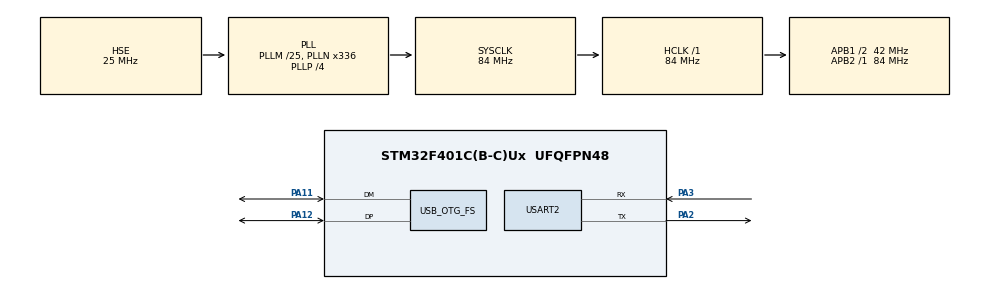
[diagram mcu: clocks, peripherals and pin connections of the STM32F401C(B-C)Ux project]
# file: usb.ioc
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Mcu.Family=STM32F4
Mcu.Name=STM32F401C(B-C)Ux
Mcu.Package=UFQFPN48
NVIC.OTG_FS_IRQn=true\:0\:0\:false\:false\:true\:true\:true\:true
NVIC.PriorityGroup=NVIC_PRIORITYGROUP_4
NVIC.USART2_IRQn=true\:0\:0\:false\:false\:true\:true\:true\:true
PA11.Mode=Device_Only
PA11.Signal=USB_OTG_FS_DM
PA12.Mode=Device_Only
PA12.Signal=USB_OTG_FS_DP
PA13.Mode=Serial_Wire
PA13.Signal=SYS_JTMS-SWDIO
PA14.Mode=Serial_Wire
PA14.Signal=SYS_JTCK-SWCLK
PA2.Mode=Asynchronous
PA2.Signal=USART2_TX
PA3.Mode=Asynchronous
PA3.Signal=USART2_RX
PH0\ -\ OSC_IN.Mode=HSE-External-Oscillator
PH0\ -\ OSC_IN.Signal=RCC_OSC_IN
PH1\ -\ OSC_OUT.Mode=HSE-External-Oscillator
PH1\ -\ OSC_OUT.Signal=RCC_OSC_OUT
ProjectManager.HeapSize=0x600
ProjectManager.StackSize=0x400
ProjectManager.TargetToolchain=Makefile
RCC.48MHZClocksFreq_Value=48000000
RCC.AHBFreq_Value=84000000
RCC.APB1CLKDivider=RCC_HCLK_DIV2
RCC.APB1Freq_Value=42000000
RCC.APB1TimFreq_Value=84000000
RCC.APB2Freq_Value=84000000
RCC.APB2TimFreq_Value=84000000
RCC.CortexFreq_Value=84000000
RCC.HCLKFreq_Value=84000000
RCC.HSE_VALUE=25000000
RCC.HSI_VALUE=16000000
RCC.LSE_VALUE=32768
RCC.PLLM=25
RCC.PLLN=336
RCC.PLLP=RCC_PLLP_DIV4
RCC.PLLQ=7
RCC.SYSCLKFreq_VALUE=84000000
RCC.SYSCLKSource=RCC_SYSCLKSOURCE_PLLCLK
RCC.VCOOutputFreq_Value=336000000
USART2.VirtualMode=VM_ASYNC
USB_DEVICE.CLASS_NAME_FS=CDC
USB_DEVICE.VirtualMode=Cdc
USB_DEVICE.VirtualModeFS=Cdc_FS
USB_OTG_FS.VirtualMode=Device_Only
VP_USB_DEVICE_VS_USB_DEVICE_CDC_FS.Mode=CDC_FS
board=custom

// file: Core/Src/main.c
/* USER CODE BEGIN Header */
/**
 ******************************************************************************
 * @file    main.c
 * @brief   STM32F401CCU6 - UART to USB CDC
 ******************************************************************************
 */
/* USER CODE END Header */

#include "main.h"
#include "usb_device.h"

/* USER CODE BEGIN Includes */
#include "usbd_cdc.h"
#include "usbd_cdc_if.h"
#include "usbd_def.h"
#include <stdint.h>

/* USER CODE END Includes */

/* USER CODE BEGIN PD */
#define UART_BUFFER_SIZE 2048U
#define UART_BUFFER_MASK (UART_BUFFER_SIZE - 1U)
#define USB_PACKET_SIZE 64U
/* USER CODE END PD */

UART_HandleTypeDef huart2;

/* USER CODE BEGIN PV */
extern USBD_HandleTypeDef hUsbDeviceFS;
static uint8_t uart_rx_byte;

static uint8_t uart_buffer[UART_BUFFER_SIZE];

static volatile uint16_t uart_head = 0;
static volatile uint16_t uart_tail = 0;

static volatile uint32_t uart_dropped = 0;

static uint8_t usb_tx_buffer[USB_PACKET_SIZE];

/* USER CODE END PV */

void SystemClock_Config(void);
static void MX_GPIO_Init(void);
static void MX_USART2_UART_Init(void);

/* USER CODE BEGIN PFP */
static void USB_Log_Task(void);
/* USER CODE END PFP */

/* USER CODE BEGIN 0 */

/*
 * Executado quando um byte chega pela USART2.
 */
void HAL_UART_RxCpltCallback(UART_HandleTypeDef *huart) {
  if (huart->Instance != USART2)
    return;

  uint16_t next = (uart_head + 1U) & UART_BUFFER_MASK;

  if (next != uart_tail) {
    uart_buffer[uart_head] = uart_rx_byte;
    uart_head = next;
  } else {
    uart_dropped++;
  }

  /* Receber próximo byte */
  HAL_UART_Receive_IT(&huart2, &uart_rx_byte, 1);
}

/*
 * Tratamento de erros da UART.
 */
void HAL_UART_ErrorCallback(UART_HandleTypeDef *huart) {
  if (huart->Instance != USART2)
    return;

  __HAL_UART_CLEAR_OREFLAG(huart);

  if (huart->RxState == HAL_UART_STATE_READY) {
    HAL_UART_Receive_IT(&huart2, &uart_rx_byte, 1);
  }
}

/*
 * Envia os dados do buffer UART para USB CDC.
 */
static void USB_Log_Task(void) {
  if (hUsbDeviceFS.dev_state != USBD_STATE_CONFIGURED)
    return;

  USBD_CDC_HandleTypeDef *hcdc =
      (USBD_CDC_HandleTypeDef *)hUsbDeviceFS.pClassData;

  if (hcdc == NULL || hcdc->TxState != 0)
    return;

  uint16_t index = uart_tail;
  uint16_t head_snapshot = uart_head;
  uint16_t count = 0;

  while ((index != head_snapshot) && (count < USB_PACKET_SIZE)) {
    usb_tx_buffer[count++] = uart_buffer[index];

    index = (index + 1U) & UART_BUFFER_MASK;
  }

  if (count == 0)
    return;

  /*
   * CDC_Transmit_FS é não bloqueante.
   * O buffer usb_tx_buffer permanece válido
   * até a transmissão ser concluída.
   */
  if (CDC_Transmit_FS(usb_tx_buffer, count) == USBD_OK) {
    uart_tail = index;
  }
}

/* USER CODE END 0 */

/**
 * @brief Application entry point.
 */
int main(void) {

  HAL_Init();

  SystemClock_Config();

  MX_GPIO_Init();
  MX_USART2_UART_Init();
  MX_USB_DEVICE_Init();

  /* USER CODE BEGIN 2 */

  uart_head = 0;
  uart_tail = 0;
  uart_dropped = 0;

  if (HAL_UART_Receive_IT(&huart2, &uart_rx_byte, 1) != HAL_OK) {
    Error_Handler();
  }

  /* USER CODE END 2 */

  /* Infinite loop */
  while (1) {

    /* USER CODE BEGIN 3 */

    USB_Log_Task();

    /* USER CODE END 3 */
  }
}

void SystemClock_Config(void) {
  RCC_OscInitTypeDef RCC_OscInitStruct = {0};
  RCC_ClkInitTypeDef RCC_ClkInitStruct = {0};

  /* Configure voltage regulator */
  __HAL_RCC_PWR_CLK_ENABLE();

  __HAL_PWR_VOLTAGESCALING_CONFIG(PWR_REGULATOR_VOLTAGE_SCALE2);

  /* HSE + PLL */
  RCC_OscInitStruct.OscillatorType = RCC_OSCILLATORTYPE_HSE;

  RCC_OscInitStruct.HSEState = RCC_HSE_ON;

  RCC_OscInitStruct.PLL.PLLState = RCC_PLL_ON;
  RCC_OscInitStruct.PLL.PLLSource = RCC_PLLSOURCE_HSE;

  RCC_OscInitStruct.PLL.PLLM = 25;
  RCC_OscInitStruct.PLL.PLLN = 336;
  RCC_OscInitStruct.PLL.PLLP = RCC_PLLP_DIV4;
  RCC_OscInitStruct.PLL.PLLQ = 7;

  if (HAL_RCC_OscConfig(&RCC_OscInitStruct) != HAL_OK) {
    Error_Handler();
  }

  /* 84 MHz CPU, 48 MHz USB */
  RCC_ClkInitStruct.ClockType = RCC_CLOCKTYPE_HCLK | RCC_CLOCKTYPE_SYSCLK |
                                RCC_CLOCKTYPE_PCLK1 | RCC_CLOCKTYPE_PCLK2;

  RCC_ClkInitStruct.SYSCLKSource = RCC_SYSCLKSOURCE_PLLCLK;

  RCC_ClkInitStruct.AHBCLKDivider = RCC_SYSCLK_DIV1;

  RCC_ClkInitStruct.APB1CLKDivider = RCC_HCLK_DIV2;

  RCC_ClkInitStruct.APB2CLKDivider = RCC_HCLK_DIV1;

  if (HAL_RCC_ClockConfig(&RCC_ClkInitStruct, FLASH_LATENCY_2) != HAL_OK) {
    Error_Handler();
  }
}

static void MX_USART2_UART_Init(void) {

  huart2.Instance = USART2;
  huart2.Init.BaudRate = 115200;
  huart2.Init.WordLength = UART_WORDLENGTH_8B;
  huart2.Init.StopBits = UART_STOPBITS_1;
  huart2.Init.Parity = UART_PARITY_NONE;
  huart2.Init.Mode = UART_MODE_TX_RX;
  huart2.Init.HwFlowCtl = UART_HWCONTROL_NONE;
  huart2.Init.OverSampling = UART_OVERSAMPLING_16;

  if (HAL_UART_Init(&huart2) != HAL_OK) {
    Error_Handler();
  }

}

static void MX_GPIO_Init(void) {

  /* GPIO Ports Clock Enable */
  __HAL_RCC_GPIOH_CLK_ENABLE();
  __HAL_RCC_GPIOA_CLK_ENABLE();

}

/**
 * @brief Error Handler
 */
void Error_Handler(void) {
  __disable_irq();
  while (1) {
  }
}

#ifdef USE_FULL_ASSERT

void assert_failed(uint8_t *file, uint32_t line) {
  /* USER CODE BEGIN 6 */
  (void)file;
  (void)line;
  /* USER CODE END 6 */
}

#endif
